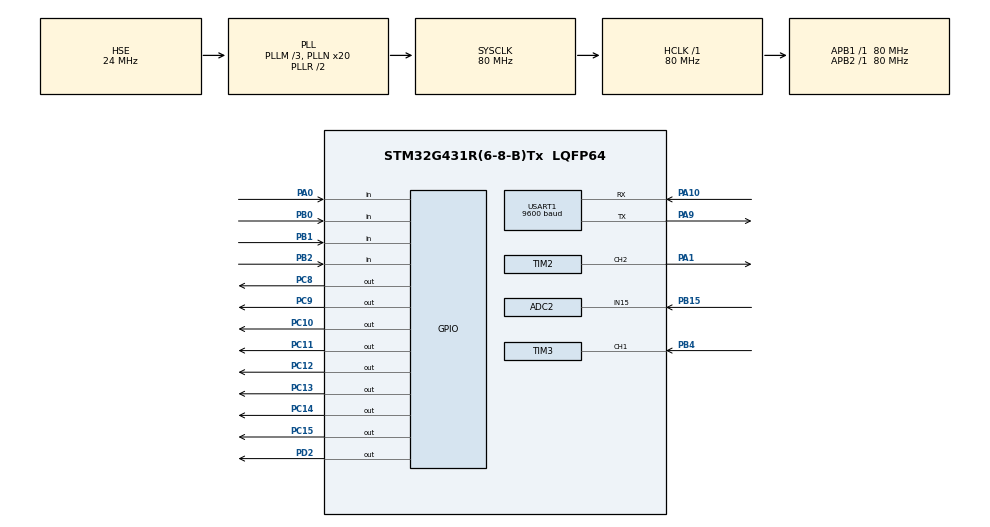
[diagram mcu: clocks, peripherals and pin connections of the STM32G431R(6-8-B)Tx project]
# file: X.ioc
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ADC2.Channel-0\#ChannelRegularConversion=ADC_CHANNEL_15
ADC2.NbrOfConversionFlag=1
ADC2.OffsetNumber-0\#ChannelRegularConversion=ADC_OFFSET_NONE
ADC2.Rank-0\#ChannelRegularConversion=1
ADC2.SamplingTime-0\#ChannelRegularConversion=ADC_SAMPLETIME_2CYCLES_5
Dma.Request0=USART1_TX
Dma.Request1=USART1_RX
Dma.USART1_RX.1.Direction=DMA_PERIPH_TO_MEMORY
Dma.USART1_RX.1.EventEnable=DISABLE
Dma.USART1_RX.1.Instance=DMA1_Channel2
Dma.USART1_RX.1.MemDataAlignment=DMA_MDATAALIGN_BYTE
Dma.USART1_RX.1.MemInc=DMA_MINC_ENABLE
Dma.USART1_RX.1.Mode=DMA_NORMAL
Dma.USART1_RX.1.PeriphDataAlignment=DMA_PDATAALIGN_BYTE
Dma.USART1_RX.1.PeriphInc=DMA_PINC_DISABLE
Dma.USART1_RX.1.Polarity=HAL_DMAMUX_REQ_GEN_RISING
Dma.USART1_RX.1.Priority=DMA_PRIORITY_LOW
Dma.USART1_RX.1.RequestNumber=1
Dma.USART1_RX.1.SignalID=NONE
Dma.USART1_RX.1.SyncEnable=DISABLE
Dma.USART1_RX.1.SyncPolarity=HAL_DMAMUX_SYNC_NO_EVENT
Dma.USART1_RX.1.SyncRequestNumber=1
Dma.USART1_RX.1.SyncSignalID=NONE
Dma.USART1_TX.0.Direction=DMA_MEMORY_TO_PERIPH
Dma.USART1_TX.0.EventEnable=DISABLE
Dma.USART1_TX.0.Instance=DMA1_Channel1
Dma.USART1_TX.0.MemDataAlignment=DMA_MDATAALIGN_BYTE
Dma.USART1_TX.0.MemInc=DMA_MINC_ENABLE
Dma.USART1_TX.0.Mode=DMA_NORMAL
Dma.USART1_TX.0.PeriphDataAlignment=DMA_PDATAALIGN_BYTE
Dma.USART1_TX.0.PeriphInc=DMA_PINC_DISABLE
Dma.USART1_TX.0.Polarity=HAL_DMAMUX_REQ_GEN_RISING
Dma.USART1_TX.0.Priority=DMA_PRIORITY_LOW
Dma.USART1_TX.0.RequestNumber=1
Dma.USART1_TX.0.SignalID=NONE
Dma.USART1_TX.0.SyncEnable=DISABLE
Dma.USART1_TX.0.SyncPolarity=HAL_DMAMUX_SYNC_NO_EVENT
Dma.USART1_TX.0.SyncRequestNumber=1
Dma.USART1_TX.0.SyncSignalID=NONE
Mcu.Family=STM32G4
Mcu.Name=STM32G431R(6-8-B)Tx
Mcu.Package=LQFP64
NVIC.DMA1_Channel1_IRQn=true\:0\:0\:false\:false\:true\:false\:true\:true
NVIC.DMA1_Channel2_IRQn=true\:0\:0\:false\:false\:true\:false\:true\:true
NVIC.PriorityGroup=NVIC_PRIORITYGROUP_4
NVIC.TIM1_TRG_COM_TIM17_IRQn=true\:0\:0\:false\:false\:true\:true\:true\:true
NVIC.TIM2_IRQn=true\:0\:0\:false\:false\:true\:true\:true\:true
NVIC.TIM3_IRQn=true\:0\:0\:false\:false\:true\:true\:true\:true
NVIC.TIM7_IRQn=true\:0\:0\:false\:false\:true\:true\:true\:true
NVIC.USART1_IRQn=true\:0\:0\:false\:false\:true\:true\:true\:true
PA0.GPIO_PuPd=GPIO_PULLUP
PA0.Signal=GPIO_Input
PA1.Signal=S_TIM2_CH2
PA10.Mode=Asynchronous
PA10.Signal=USART1_RX
PA13.Mode=Serial_Wire
PA13.Signal=SYS_JTMS-SWDIO
PA14.Mode=Serial_Wire
PA14.Signal=SYS_JTCK-SWCLK
PA7.Signal=S_TIM3_CH2
PA9.Mode=Asynchronous
PA9.Signal=USART1_TX
PB0.GPIO_PuPd=GPIO_PULLUP
PB0.Signal=GPIO_Input
PB1.GPIO_PuPd=GPIO_PULLUP
PB1.Signal=GPIO_Input
PB15.Mode=IN15-Single-Ended
PB15.Signal=ADC2_IN15
PB2.GPIO_PuPd=GPIO_PULLUP
PB2.Signal=GPIO_Input
PB4.Signal=S_TIM3_CH1
PC10.PinState=GPIO_PIN_SET
PC10.Signal=GPIO_Output
PC11.PinState=GPIO_PIN_SET
PC11.Signal=GPIO_Output
PC12.PinState=GPIO_PIN_SET
PC12.Signal=GPIO_Output
PC13.PinState=GPIO_PIN_SET
PC13.Signal=GPIO_Output
PC14-OSC32_IN.PinState=GPIO_PIN_SET
PC14-OSC32_IN.Signal=GPIO_Output
PC15-OSC32_OUT.PinState=GPIO_PIN_SET
PC15-OSC32_OUT.Signal=GPIO_Output
PC8.PinState=GPIO_PIN_SET
PC8.Signal=GPIO_Output
PC9.PinState=GPIO_PIN_SET
PC9.Signal=GPIO_Output
PD2.PinState=GPIO_PIN_SET
PD2.Signal=GPIO_Output
PF0-OSC_IN.Mode=HSE-External-Oscillator
PF0-OSC_IN.Signal=RCC_OSC_IN
PF1-OSC_OUT.Mode=HSE-External-Oscillator
PF1-OSC_OUT.Signal=RCC_OSC_OUT
ProjectManager.HeapSize=0x200
ProjectManager.StackSize=0x400
ProjectManager.TargetToolchain=MDK-ARM V5.32
RCC.ADC12Freq_Value=80000000
RCC.AHBFreq_Value=80000000
RCC.APB1Freq_Value=80000000
RCC.APB1TimFreq_Value=80000000
RCC.APB2Freq_Value=80000000
RCC.APB2TimFreq_Value=80000000
RCC.CortexFreq_Value=80000000
RCC.EXTERNAL_CLOCK_VALUE=12288000
RCC.HCLKFreq_Value=80000000
RCC.HSE_VALUE=24000000
RCC.HSI48_VALUE=48000000
RCC.HSI_VALUE=16000000
RCC.LSE_VALUE=32768
RCC.PLLM=RCC_PLLM_DIV3
RCC.PLLN=20
RCC.PLLSourceVirtual=RCC_PLLSOURCE_HSE
RCC.RTCClockSelection=RCC_RTCCLKSOURCE_HSE_DIV32
RCC.SYSCLKFreq_VALUE=80000000
RCC.SYSCLKSource=RCC_SYSCLKSOURCE_PLLCLK
RCC.USBFreq_Value=80000000
RCC.VCOOutputFreq_Value=160000000
RTC.AsynchPrediv=125
RTC.Date=20
RTC.Hours=13
RTC.Minutes=33
RTC.Month=RTC_MONTH_APRIL
RTC.Seconds=33
RTC.SynchPrediv=6000
RTC.WeekDay=RTC_WEEKDAY_MONDAY
RTC.Year=25
SH.S_TIM2_CH2.0=TIM2_CH2,PWM Generation2 CH2
SH.S_TIM3_CH1.0=TIM3_CH1,Input_Capture1_from_TI1
SH.S_TIM3_CH2.0=TIM3_CH2
TIM17.AutoReloadPreload=TIM_AUTORELOAD_PRELOAD_ENABLE
TIM17.PeriodNoDither=10000-1
TIM17.Prescaler=80-1
TIM2.AutoReloadPreload=TIM_AUTORELOAD_PRELOAD_ENABLE
TIM2.Channel-PWM\ Generation2\ CH2=TIM_CHANNEL_2
TIM2.PeriodNoDither=1000-1
TIM2.Prescaler=80-1
TIM3.Channel-Input_Capture1_from_TI1=TIM_CHANNEL_1
TIM3.Prescaler=80-1
TIM7.AutoReloadPreload=TIM_AUTORELOAD_PRELOAD_ENABLE
TIM7.PeriodNoDither=1000-1
TIM7.Prescaler=80-1
USART1.BaudRate=9600
USART1.VirtualMode-Asynchronous=VM_ASYNC
VP_RTC_VS_RTC_Activate.Mode=RTC_Enabled
VP_RTC_VS_RTC_Calendar.Mode=RTC_Calendar
VP_SYS_VS_DBSignals.Mode=DisableDeadBatterySignals
VP_TIM17_VS_ClockSourceINT.Mode=Enable_Timer
VP_TIM2_VS_ClockSourceINT.Mode=Internal
VP_TIM3_VS_ClockSourceINT.Mode=Internal
VP_TIM7_VS_ClockSourceINT.Mode=Enable_Timer
board=custom

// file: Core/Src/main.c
/* USER CODE BEGIN Header */
/**
  ******************************************************************************
  * @file           : main.c
  * @brief          : Main program body
  ******************************************************************************
  * @attention
  *
  * Copyright (c) 2025 STMicroelectronics.
  * All rights reserved.
  *
  * This software is licensed under terms that can be found in the LICENSE file
  * in the root directory of this software component.
  * If no LICENSE file comes with this software, it is provided AS-IS.
  *
  ******************************************************************************
  */
/* USER CODE END Header */
#include "main.h"
#include "adc.h"
#include "dma.h"
#include "rtc.h"
#include "tim.h"
#include "usart.h"
#include "gpio.h"

/* USER CODE BEGIN Includes */
#include "head.h"
/* USER CODE END Includes */

void SystemClock_Config(void);

int main(void)
{

  /* MCU Configuration--------------------------------------------------------*/

  /* Reset of all peripherals, Initializes the Flash interface and the Systick. */
  HAL_Init();

  /* Configure the system clock */
  SystemClock_Config();

  /* USER CODE BEGIN SysInit */
  HAL_Delay(100);
  /* USER CODE END SysInit */

  /* Initialize all configured peripherals */
  MX_GPIO_Init();
  MX_DMA_Init();
  MX_TIM2_Init();
  MX_TIM7_Init();
  MX_TIM17_Init();
  MX_TIM3_Init();
  MX_ADC2_Init();
  MX_RTC_Init();
  MX_USART1_UART_Init();
  /* USER CODE BEGIN 2 */
  HAL_Delay(100);
  LCD_Init();
  LCD_Clear(Black);
  LCD_SetBackColor(Black);
  LCD_SetTextColor(White);
	Led_Init();
  /* USER CODE END 2 */

  /* Infinite loop */
  /* USER CODE BEGIN WHILE */
  My_RTC_SetTime();
  HAL_TIM_IC_Start_IT(&htim3, TIM_CHANNEL_1);
  HAL_TIM_PWM_Start_IT(&htim2,TIM_CHANNEL_2);
	__HAL_TIM_SetCompare(&htim2, TIM_CHANNEL_2, 500);
  while (1)
  {
    LCD_Proc();
    Key_Proc();
    LED_Proc();
    /* USER CODE END WHILE */

  }
}

void SystemClock_Config(void)
{
  RCC_OscInitTypeDef RCC_OscInitStruct = {0};
  RCC_ClkInitTypeDef RCC_ClkInitStruct = {0};

  /** Configure the main internal regulator output voltage
  */
  HAL_PWREx_ControlVoltageScaling(PWR_REGULATOR_VOLTAGE_SCALE1);

  /** Initializes the RCC Oscillators according to the specified parameters
  * in the RCC_OscInitTypeDef structure.
  */
  RCC_OscInitStruct.OscillatorType = RCC_OSCILLATORTYPE_HSE;
  RCC_OscInitStruct.HSEState = RCC_HSE_ON;
  RCC_OscInitStruct.PLL.PLLState = RCC_PLL_ON;
  RCC_OscInitStruct.PLL.PLLSource = RCC_PLLSOURCE_HSE;
  RCC_OscInitStruct.PLL.PLLM = RCC_PLLM_DIV3;
  RCC_OscInitStruct.PLL.PLLN = 20;
  RCC_OscInitStruct.PLL.PLLP = RCC_PLLP_DIV2;
  RCC_OscInitStruct.PLL.PLLQ = RCC_PLLQ_DIV2;
  RCC_OscInitStruct.PLL.PLLR = RCC_PLLR_DIV2;
  if (HAL_RCC_OscConfig(&RCC_OscInitStruct) != HAL_OK)
  {
    Error_Handler();
  }

  /** Initializes the CPU, AHB and APB buses clocks
  */
  RCC_ClkInitStruct.ClockType = RCC_CLOCKTYPE_HCLK|RCC_CLOCKTYPE_SYSCLK
                              |RCC_CLOCKTYPE_PCLK1|RCC_CLOCKTYPE_PCLK2;
  RCC_ClkInitStruct.SYSCLKSource = RCC_SYSCLKSOURCE_PLLCLK;
  RCC_ClkInitStruct.AHBCLKDivider = RCC_SYSCLK_DIV1;
  RCC_ClkInitStruct.APB1CLKDivider = RCC_HCLK_DIV1;
  RCC_ClkInitStruct.APB2CLKDivider = RCC_HCLK_DIV1;

  if (HAL_RCC_ClockConfig(&RCC_ClkInitStruct, FLASH_LATENCY_2) != HAL_OK)
  {
    Error_Handler();
  }
}

void Error_Handler(void)
{
  __disable_irq();
  while (1)
  {
  }
}
